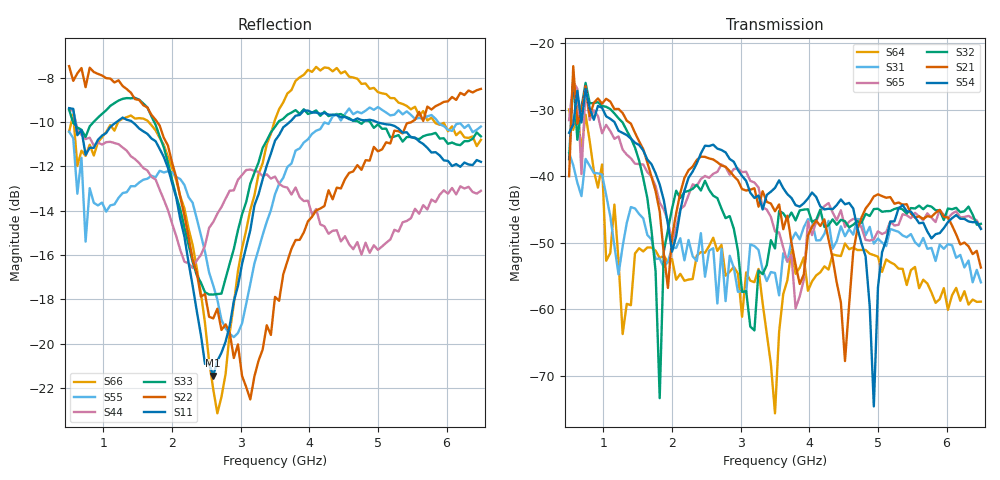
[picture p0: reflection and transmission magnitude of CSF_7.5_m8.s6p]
!Keysight Technologies,M9804A,MY58100912,A.14.10.03
!Date: Thursday, April 27, 2023 10:28:33
!Correction: S11(C  6-Port  )
!S12(C  6-Port  )
!S13(C  6-Port  )
!S14(C  6-Port  )
!S15(C  6-Port  )
!S16(C  6-Port  )
!S21(C  6-Port  )
!S22(C  6-Port  )
!S23(C  6-Port  )
!S24(C  6-Port  )
!S25(C  6-Port  )
!S26(C  6-Port  )
!S31(C  6-Port  )
!S32(C  6-Port  )
!S33(C  6-Port  )
!S34(C  6-Port  )
!S35(C  6-Port  )
!S36(C  6-Port  )
!S41(C  6-Port  )
!S42(C  6-Port  )
!S43(C  6-Port  )
!S44(C  6-Port  )
!S45(C  6-Port  )
!S46(C  6-Port  )
!S51(C  6-Port  )
!S52(C  6-Port  )
!S53(C  6-Port  )
!S54(C  6-Port  )
!S55(C  6-Port  )
!S56(C  6-Port  )
!S61(C  6-Port  )
!S62(C  6-Port  )
!S63(C  6-Port  )
!S64(C  6-Port  )
!S65(C  6-Port  )
!S66(C  6-Port  )
!S6P File: Measurement: :
# Hz S  RI  R 50
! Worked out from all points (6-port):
!   101 points, 500 MHz to 6.5 GHz, reference 50 ohm
!   strongest paths, dB at 500 MHz, 2 GHz, 3.5 GHz, 5 GHz, 6.5 GHz:
!     S54: -33.5, -51.3, -41.8, -56.8, -47.9
!     S21: -40.0, -49.1, -45.3, -42.7, -53.7
!     S32: -37.4, -44.9, -50.9, -44.9, -47.2
!     S65: -31.6, -50.0, -48.3, -48.3, -47.8
!     S31: -36.5, -50.8, -54.6, -49.4, -56.0
!     S64: -30.0, -52.5, -75.7, -52.1, -58.9
!   lowest |S11| = -21.4 dB at 2.6 GHz (marker M1), VSWR 1.18, Z = 42.5 + j2.23 ohm
!   |S11| at or under -10 dB: 589.7 MHz to 1.195 GHz (605.2 MHz wide, 67.8 % of centre); 1.419 GHz to 3.716 GHz (2.296 GHz wide, 89.5 % of centre); 4.976 GHz to end of sweep
